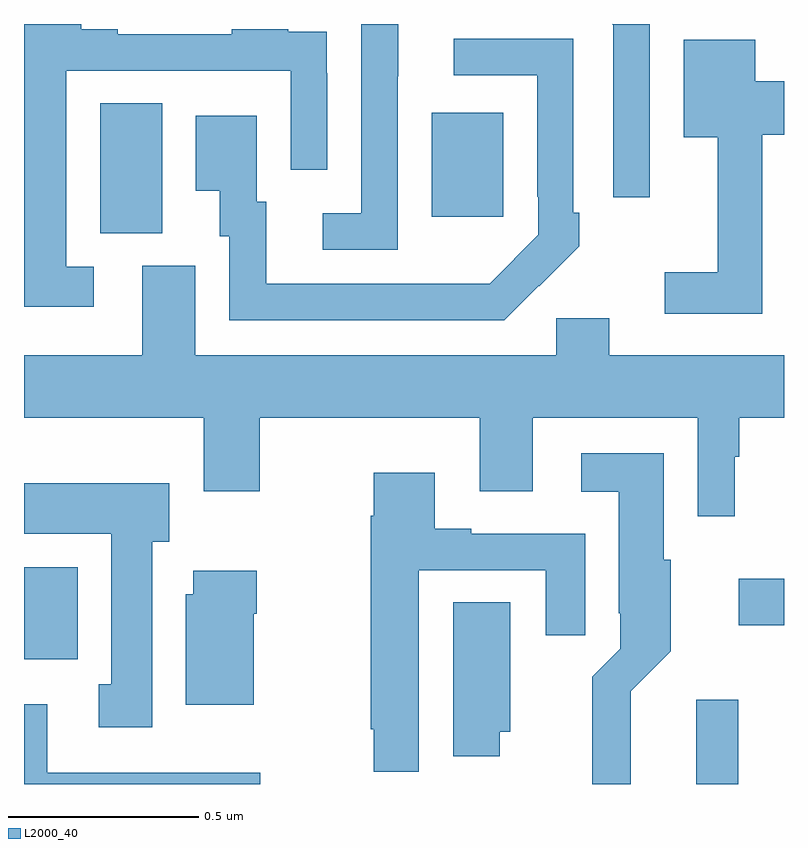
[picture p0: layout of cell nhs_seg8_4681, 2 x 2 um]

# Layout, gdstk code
import gdstk
lib = gdstk.Library(unit=1e-6, precision=1e-09)
def R(c, l, rs):  # rectangles x0, y0, x1, y1
    for r in rs: c.add(gdstk.rectangle(r[:2], r[2:], *l))
def P(c, l, *ps):  # polygons
    for p in ps: c.add(gdstk.Polygon(p, *l))
L2000_40 = (2000, 40)

nhs_seg8_4681 = lib.new_cell('nhs_seg8_4681')
R(nhs_seg8_4681, L2000_40, [(175.769,1084.9,175.879,1085.122), (174,1085.228,174.142,1085.47), (175.881,1085.318,176,1085.44), (174.2,1086.349,174.364,1086.692), (175.073,1086.393,175.261,1086.667)])
P(nhs_seg8_4681, L2000_40, [(174.184,1086.261),(174.111,1086.261),(174.111,1086.777),(174.702,1086.777),(174.702,1086.516),(174.798,1086.516),(174.798,1086.77),(174.797,1086.77),(174.797,1086.879),(174.695,1086.879),(174.695,1086.886),(174.547,1086.886),(174.547,1086.873),(174.247,1086.873),(174.247,1086.886),(174.151,1086.886),(174.151,1086.9),(174,1086.9),(174,1086.156),(174.184,1086.156)],
  [(175.647,1086.9),(175.548,1086.9),(175.551,1086.897),(175.551,1086.444),(175.647,1086.444)],
  [(174.984,1086.763),(174.985,1086.763),(174.985,1086.9),(174.888,1086.9),(174.888,1086.402),(174.786,1086.402),(174.786,1086.306),(174.984,1086.306)],
  [(175.355,1086.211),(175.356,1086.21),(175.461,1086.315),(175.461,1086.403),(175.446,1086.403),(175.446,1086.861),(175.131,1086.861),(175.131,1086.765),(175.35,1086.765),(175.35,1086.445),(175.353,1086.445),(175.353,1086.345),(175.225,1086.217),(175.121,1086.217),(175.121,1086.216),(174.637,1086.216),(174.637,1086.432),(174.613,1086.432),(174.613,1086.658),(174.452,1086.658),(174.452,1086.461),(174.515,1086.461),(174.515,1086.342),(174.54,1086.342),(174.54,1086.12),(175.264,1086.12)],
  [(175.943,1086.608),(176,1086.608),(176,1086.75),(175.924,1086.75),(175.924,1086.859),(175.736,1086.859),(175.736,1086.602),(175.826,1086.602),(175.826,1086.247),(175.686,1086.247),(175.686,1086.138),(175.943,1086.138)],
  [(175.87,1085.761),(175.882,1085.761),(175.882,1085.864),(176,1085.864),(176,1086.028),(175.54,1086.028),(175.54,1086.126),(175.401,1086.126),(175.401,1086.028),(174.451,1086.028),(174.451,1086.264),(174.311,1086.264),(174.311,1086.028),(174,1086.028),(174,1085.864),(174.473,1085.864),(174.473,1085.67),(174.621,1085.67),(174.621,1085.864),(175.199,1085.864),(175.199,1085.67),(175.339,1085.67),(175.339,1085.864),(175.773,1085.864),(175.773,1085.604),(175.87,1085.604)],
  [(175.597,1085.144),(175.702,1085.25),(175.702,1085.49),(175.684,1085.49),(175.684,1085.77),(175.467,1085.77),(175.467,1085.669),(175.565,1085.669),(175.565,1085.35),(175.569,1085.35),(175.569,1085.256),(175.495,1085.182),(175.495,1084.9),(175.597,1084.9)],
  [(175.039,1085.463),(175.373,1085.463),(175.373,1085.292),(175.477,1085.292),(175.477,1085.559),(175.177,1085.559),(175.177,1085.572),(175.081,1085.572),(175.081,1085.719),(174.92,1085.719),(174.92,1085.606),(174.913,1085.606),(174.913,1085.044),(174.92,1085.044),(174.92,1084.932),(175.039,1084.932)],
  [(174.337,1085.538),(174.382,1085.538),(174.382,1085.692),(174,1085.692),(174,1085.558),(174.23,1085.558),(174.23,1085.162),(174.197,1085.162),(174.197,1085.049),(174.337,1085.049)],
  [(174.604,1085.348),(174.612,1085.348),(174.612,1085.461),(174.446,1085.461),(174.446,1085.4),(174.425,1085.4),(174.425,1085.108),(174.604,1085.108)],
  [(175.252,1085.037),(175.279,1085.037),(175.279,1085.378),(175.13,1085.378),(175.13,1084.973),(175.252,1084.973)],
  [(174.622,1084.929),(174.061,1084.929),(174.061,1085.11),(174,1085.11),(174,1084.9),(174.622,1084.9)])

lib.write_gds('nhs_seg8_4681.gds')
